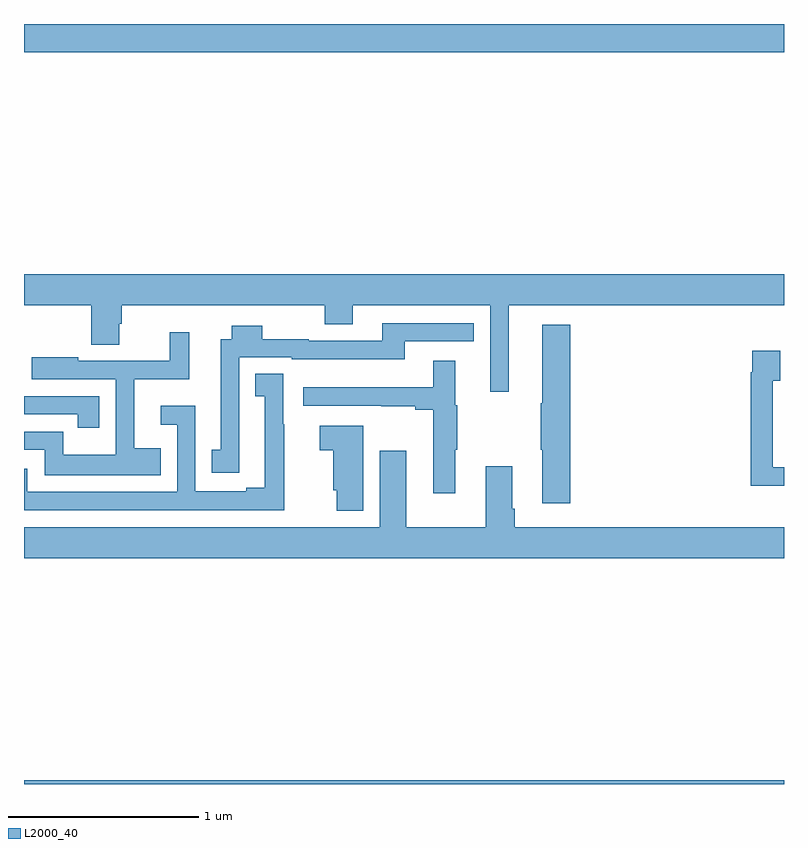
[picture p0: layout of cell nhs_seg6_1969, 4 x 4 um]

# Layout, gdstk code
import gdstk
lib = gdstk.Library(unit=1e-6, precision=1e-09)
def R(c, l, rs):  # rectangles x0, y0, x1, y1
    for r in rs: c.add(gdstk.rectangle(r[:2], r[2:], *l))
def P(c, l, *ps):  # polygons
    for p in ps: c.add(gdstk.Polygon(p, *l))
L2000_40 = (2000, 40)

nhs_seg6_1969 = lib.new_cell('nhs_seg6_1969')
R(nhs_seg6_1969, L2000_40, [(229,927.5,233,927.52), (229,931.352,233,931.5)])
P(nhs_seg6_1969, L2000_40, [(231.55,930.02),(233,930.02),(233,930.184),(229,930.184),(229,930.02),(229.354,930.02),(229.354,929.812),(229.501,929.812),(229.501,929.922),(229.514,929.922),(229.514,930.02),(230.584,930.02),(230.584,929.921),(230.731,929.921),(230.731,930.02),(231.453,930.02),(231.453,929.565),(231.55,929.565)],
  [(230.134,929.462),(230.133,929.462),(230.133,929.745),(230.409,929.745),(230.409,929.735),(231.004,929.735),(231.004,929.829),(231.368,929.829),(231.368,929.925),(230.885,929.925),(230.885,929.832),(230.499,929.832),(230.499,929.842),(230.253,929.842),(230.253,929.911),(230.093,929.911),(230.093,929.841),(230.036,929.841),(230.036,929.259),(229.987,929.259),(229.987,929.139),(230.134,929.139)],
  [(231.875,929.917),(231.728,929.917),(231.728,929.504),(231.721,929.504),(231.721,929.26),(231.728,929.26),(231.728,928.977),(231.875,928.977)],
  [(229.721,929.266),(229.579,929.266),(229.579,929.63),(229.87,929.63),(229.87,929.878),(229.768,929.878),(229.768,929.727),(229.285,929.727),(229.285,929.746),(229.041,929.746),(229.041,929.631),(229.482,929.631),(229.482,929.233),(229.206,929.233),(229.206,929.354),(229.103,929.354),(229.103,929.355),(229,929.355),(229,929.259),(229.11,929.259),(229.11,929.126),(229.721,929.126)],
  [(233,929.166),(232.941,929.166),(232.941,929.623),(232.981,929.623),(232.981,929.779),(232.833,929.779),(232.833,929.666),(232.825,929.666),(232.825,929.069),(233,929.069)],
  [(231.271,929.26),(231.279,929.26),(231.279,929.493),(231.271,929.493),(231.271,929.728),(231.155,929.728),(231.155,929.587),(230.469,929.587),(230.469,929.49),(230.881,929.49),(230.881,929.488),(231.059,929.488),(231.059,929.47),(231.155,929.47),(231.155,929.031),(231.271,929.031)],
  [(230.369,929.393),(230.364,929.393),(230.364,929.66),(230.218,929.66),(230.218,929.542),(230.267,929.542),(230.267,929.059),(230.171,929.059),(230.171,929.041),(229.902,929.041),(229.902,929.491),(229.719,929.491),(229.719,929.39),(229.806,929.39),(229.806,929.037),(229.017,929.037),(229.017,929.16),(229,929.16),(229,928.941),(229.909,928.941),(229.909,928.94),(230.369,928.94)],
  [(229.397,929.541),(229,929.541),(229,929.445),(229.284,929.445),(229.284,929.376),(229.397,929.376)],
  [(230.785,929.386),(230.556,929.386),(230.556,929.257),(230.627,929.257),(230.627,929.046),(230.645,929.046),(230.645,928.937),(230.785,928.937)],
  [(233,928.852),(231.584,928.852),(231.584,928.948),(231.571,928.948),(231.571,929.173),(231.431,929.173),(231.431,928.852),(231.013,928.852),(231.013,929.254),(230.873,929.254),(230.873,928.852),(229,928.852),(229,928.688),(233,928.688)])

lib.write_gds('nhs_seg6_1969.gds')
